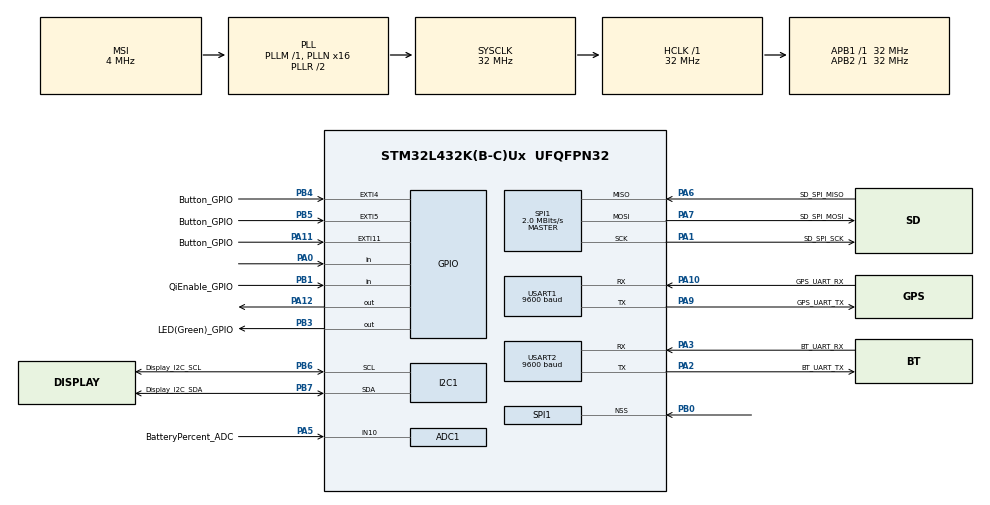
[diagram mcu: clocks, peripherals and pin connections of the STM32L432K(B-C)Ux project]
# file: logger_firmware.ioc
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ADC1.Channel-2\#ChannelRegularConversion=ADC_CHANNEL_10
ADC1.NbrOfConversionFlag=1
ADC1.OffsetNumber-2\#ChannelRegularConversion=ADC_OFFSET_NONE
ADC1.Rank-2\#ChannelRegularConversion=1
ADC1.SamplingTime-2\#ChannelRegularConversion=ADC_SAMPLETIME_2CYCLES_5
ADC1.master=1
FATFS._MAX_SS=4096
FATFS._USE_LFN=1
I2C1.Timing=0x00707CBB
Mcu.Family=STM32L4
Mcu.Name=STM32L432K(B-C)Ux
Mcu.Package=UFQFPN32
NVIC.ADC1_IRQn=true\:0\:0\:false\:false\:true\:true\:true\:true
NVIC.EXTI15_10_IRQn=true\:0\:0\:false\:false\:true\:true\:true\:true
NVIC.EXTI4_IRQn=true\:0\:0\:false\:false\:true\:true\:true\:true
NVIC.EXTI9_5_IRQn=true\:0\:0\:false\:false\:true\:true\:true\:true
NVIC.PriorityGroup=NVIC_PRIORITYGROUP_4
NVIC.TIM1_UP_TIM16_IRQn=true\:0\:0\:false\:false\:true\:true\:true\:true
NVIC.TIM6_DAC_IRQn=true\:0\:0\:false\:false\:true\:true\:true\:true
NVIC.USART1_IRQn=true\:0\:0\:false\:false\:true\:true\:true\:true
PA0.Signal=GPIO_Input
PA1.GPIO_Label=SD_SPI_SCK
PA1.Mode=Full_Duplex_Master
PA1.Signal=SPI1_SCK
PA10.GPIO_Label=GPS_UART_RX
PA10.Mode=Asynchronous
PA10.Signal=USART1_RX
PA11.GPIO_Label=Button_GPIO
PA11.Signal=GPXTI11
PA12.Signal=GPIO_Output
PA13\ (JTMS-SWDIO).GPIO_Label=SWDIO
PA13\ (JTMS-SWDIO).Signal=SYS_JTMS-SWDIO
PA14\ (JTCK-SWCLK).GPIO_Label=SWCLK
PA14\ (JTCK-SWCLK).Signal=SYS_JTCK-SWCLK
PA2.GPIO_Label=BT_UART_TX
PA2.Mode=Asynchronous
PA2.Signal=USART2_TX
PA3.GPIO_Label=BT_UART_RX
PA3.Mode=Asynchronous
PA3.Signal=USART2_RX
PA5.GPIO_Label=BatteryPercent_ADC
PA5.Signal=ADCx_IN10
PA6.GPIO_Label=SD_SPI_MISO
PA6.Mode=Full_Duplex_Master
PA6.Signal=SPI1_MISO
PA7.GPIO_Label=SD_SPI_MOSI
PA7.Mode=Full_Duplex_Master
PA7.Signal=SPI1_MOSI
PA9.GPIO_Label=GPS_UART_TX
PA9.Mode=Asynchronous
PA9.Signal=USART1_TX
PB0.Mode=NSS_Signal_Hard_Input
PB0.Signal=SPI1_NSS
PB1.GPIO_Label=QiEnable_GPIO
PB1.Signal=GPIO_Input
PB3\ (JTDO-TRACESWO).GPIO_Label=LED(Green)_GPIO
PB3\ (JTDO-TRACESWO).Signal=GPIO_Output
PB4\ (NJTRST).GPIO_Label=Button_GPIO
PB4\ (NJTRST).Signal=GPXTI4
PB5.GPIO_Label=Button_GPIO
PB5.Signal=GPXTI5
PB6.GPIO_Label=Display_I2C_SCL
PB6.Mode=I2C
PB6.Signal=I2C1_SCL
PB7.GPIO_Label=Display_I2C_SDA
PB7.Mode=I2C
PB7.Signal=I2C1_SDA
PC14-OSC32_IN\ (PC14).Signal=RCC_OSC32_IN
PC15-OSC32_OUT\ (PC15).Signal=RCC_OSC32_OUT
ProjectManager.HeapSize=0x200
ProjectManager.StackSize=0x400
ProjectManager.TargetToolchain=STM32CubeIDE
RCC.ADCFreq_Value=32000000
RCC.AHBFreq_Value=32000000
RCC.APB1Freq_Value=32000000
RCC.APB1TimFreq_Value=32000000
RCC.APB2Freq_Value=32000000
RCC.APB2TimFreq_Value=32000000
RCC.CortexFreq_Value=32000000
RCC.HCLKFreq_Value=32000000
RCC.HSE_VALUE=8000000
RCC.HSI16_VALUE=16000000
RCC.HSI48_VALUE=48000000
RCC.HSI_VALUE=16000000
RCC.LSE_VALUE=32768
RCC.MSI_VALUE=4000000
RCC.PLLMUL=RCC_PLLMUL_4
RCC.PLLN=16
RCC.PLLSAI1N=16
RCC.SYSCLKFreq_VALUE=32000000
RCC.SYSCLKSource=RCC_SYSCLKSOURCE_PLLCLK
RCC.USBFreq_Value=32000000
RCC.VCOOutputFreq_Value=64000000
SH.ADCx_IN10.0=ADC1_IN10,IN10-Single-Ended
SPI1.BaudRatePrescaler=SPI_BAUDRATEPRESCALER_16
SPI1.CalculateBaudRate=2.0 MBits/s
SPI1.DataSize=SPI_DATASIZE_8BIT
SPI1.Direction=SPI_DIRECTION_2LINES
SPI1.Mode=SPI_MODE_MASTER
SPI1.VirtualNSS=VM_NSSHARD
SPI1.VirtualType=VM_MASTER
TIM16.Period=199
TIM16.Prescaler=79
TIM6.Period=39999
TIM6.Prescaler=799
USART1.BaudRate=9600
USART1.VirtualMode-Asynchronous=VM_ASYNC
USART2.BaudRate=9600
USART2.VirtualMode-Asynchronous=VM_ASYNC
USART2.WordLength=WORDLENGTH_8B
VP_FATFS_VS_Generic.Mode=User_defined
VP_TIM16_VS_ClockSourceINT.Mode=Enable_Timer
VP_TIM6_VS_ClockSourceINT.Mode=Enable_Timer
board=NUCLEO-L432KC

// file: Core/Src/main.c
/* USER CODE BEGIN Header */
/**
  ******************************************************************************
  * @file           : main.c
  * @brief          : Main program body
  ******************************************************************************
  * @attention
  *
  * Copyright (c) 2023 STMicroelectronics.
  * All rights reserved.
  *
  * This software is licensed under terms that can be found in the LICENSE file
  * in the root directory of this software component.
  * If no LICENSE file comes with this software, it is provided AS-IS.
  *
  ******************************************************************************
  */
/* USER CODE END Header */
#include "main.h"
#include "fatfs.h"

/* USER CODE BEGIN Includes */
#include "driver.h"
#include "liquidcrystal_i2c.h"
#include "stdlib.h"
#include "stdio.h"
#include <string.h>
#include "stm32l4xx_hal_uart.h"
#include "math.h"

/* USER CODE END Includes */

ADC_HandleTypeDef hadc1;

I2C_HandleTypeDef hi2c1;

SPI_HandleTypeDef hspi1;

TIM_HandleTypeDef htim6;
TIM_HandleTypeDef htim16;

UART_HandleTypeDef huart1;
UART_HandleTypeDef huart2;

/* USER CODE BEGIN PV */
screenStates state = speed;
screenStates prevState;
IMU_OFFSET offset_cal_data;
volatile uint8_t isLogging = 0;
volatile uint8_t isFixed = 0;
uint8_t bytesReceived;
volatile char bufferByte[1];
// Will store up to ten logs
volatile Log recordedData;
// Booleans for Timer Values
volatile uint8_t buzEnable = 0;
volatile uint8_t IMU_DATA_FLAG = 0;
volatile uint32_t adcOutput;
volatile float batteryPercentage;
volatile float temperature = 10;
volatile float startTime = 0;
volatile float endTime = 0;
float curSlope = 0;
float prevSlope = 0;
volatile char gpsDataBuffer[100]="ASDFADFHDFGASDFASDFSDFHDASDF";//dataBuffer
volatile int gpsParseFlag = 0;

// TODO: New stuff Corbin Added, needs to be checked
volatile runStates runStatus;
runData run_data = {
		0, 0, 0, // start lat, long, alt
		0, 0, 0  //stop lat, long, alt
};
volatile float runStartTimeInSecs;
volatile float stopStartTimeInSecs;
volatile int firstTimeOver;
volatile uint8_t curRun = 0, curData = 0;

volatile gpsData GPSData = {
		  0,
		  "hh",
		  0,
		  "mm",
		  0,
		  "ss.ss",
		  0,
		  "lllll.ll",//latitudeChar[]
		  {0,0},//latitude
		  'A',//latDir
		  "yyyyy.yy",//longitudeChar
		  {0,0},//longitude
		  'A',//longDir
		  0,//fix
		  0,//numSatellites
		  "xxx",//numSatellitesChar
		  0,//hdop
		  "x.x",//hdopChar[]
		  {0,0,0},//altitude
		  "x.x",//altitudeChar[]
		  'M',//altitudeUnits
		  'V',//validity
		  "xxx",//speedCharKnots
		  {0,0,0}, //speedMph
		  "0",//checksumgga
		  0,//dataGoodgga
		  "0",//checksumrmc
		  0//dataGoodrmc
};

volatile uint8_t IMU_Flag = 0;
int16_t buf[4];
float prevXAcc = 0;
float CalcYAcc = 0;
uint8_t maybeCollision;
int counterForIMUCollision = 0;
int collisionCounter = 0;
float prevYAcc = 0;
volatile uint8_t StopLog = 0;
volatile uint8_t GPSNoFix = 1;
volatile uint8_t GPSTimeout = 0;
volatile uint8_t IMUTimeout = 0;
/* USER CODE END PV */

void SystemClock_Config(void);
static void MX_GPIO_Init(void);
static void MX_USART2_UART_Init(void);
static void MX_I2C1_Init(void);
static void MX_USART1_UART_Init(void);
static void MX_TIM16_Init(void);
static void MX_SPI1_Init(void);
static void MX_TIM6_Init(void);
static void MX_ADC1_Init(void);

int main(void)
{

  /* MCU Configuration--------------------------------------------------------*/

  /* Reset of all peripherals, Initializes the Flash interface and the Systick. */
  HAL_Init();

  /* Configure the system clock */
  SystemClock_Config();

  /* Initialize all configured peripherals */
  MX_GPIO_Init();
  MX_USART2_UART_Init();
  MX_I2C1_Init();
  MX_USART1_UART_Init();
  MX_TIM16_Init();
  MX_FATFS_Init();
  MX_SPI1_Init();
  MX_TIM6_Init();
  MX_ADC1_Init();
  /* USER CODE BEGIN 2 */

  // Initialize Timer Interrupt
  HAL_TIM_Base_Start_IT(&htim16);
  HAL_TIM_Base_Start_IT(&htim6);

  // Initialize LCD
  HD44780_Init(2); // Initialize
  HD44780_Clear(); // Clear buffer
  HD44780_Display(); // Display characters
  HD44780_NoBlink(); // Don't blink cursor
  HD44780_NoCursor(); // Don't show cursor

  memset(&recordedData, 0, sizeof(recordedData));

  //enable GGA (contains the precision data) and RMC (contains all the minimum navigation info)
  	//data on the GPS
  	char inputBuffer[] = "$PMTK314,0,0,0,1,0,0,0,0,0,0,0,0,0,0,0,0,0,0,0*29\r\n";
  	HAL_UART_Transmit(&huart1, (uint8_t *) inputBuffer, sizeof(inputBuffer), 100);

  //Change GPS update frequency to every 3000 milliseconds
  char inputBuffer2[] = "$PMTK220,3000*1D\r\n";
  HAL_UART_Transmit(&huart1, (uint8_t *) inputBuffer2, sizeof(inputBuffer2), 100);
  bytesReceived = 0;

  // Will listen for an interrupt on this pin
  HAL_UART_Receive_IT(&huart1, (uint8_t *) bufferByte, 1);
  HAL_ADC_Start_IT(&hadc1);

  IMU_Config(&hi2c1);
  IMU_Calibrate(&hi2c1);
  float CalcDg = IMU_GET_ORIENTATION_FOR_SLOPE(&hi2c1);

  // SD card
  FATFS FatFs;
  FRESULT res;

  res = f_mount(&FatFs, "", 1);    //1=mount now
  if (res != FR_OK) {
	  f_mount(NULL, "", 0);
	  return 0;
  }

  /* USER CODE END 2 */

  /* Infinite loop */
  while (1)
  {

    /* USER CODE BEGIN 3 */
	  if(gpsParseFlag == 1){
		  parseGps(&GPSData, gpsDataBuffer);
		  checkRunStatus(&GPSData, &run_data);
		  determineMax(&GPSData, &recordedData, &run_data);
		  if (runStatus == running) {
			  recordedData.run[curRun].data[curData].GPSspeed = medianThree(GPSData.speedMph);
			  recordedData.run[curRun].data[curData].altitude = medianThree(GPSData.altitude);
			  recordedData.run[curRun].data[curData].longitude = GPSData.longitude[1];
			  recordedData.run[curRun].data[curData].latitude = GPSData.latitude[1];
			  ++curData;
		  }
		  gpsParseFlag = 0;
	  }

	  if(IMU_Flag == 1) {
		  buf[0] = LIA_DATA_X_LSB;
		  HAL_I2C_Master_Transmit(&hi2c1, I2C_Addr, &buf[0], 1, 1000);
		  HAL_I2C_Master_Receive(&hi2c1, I2C_Addr, &buf[0], 4, 1000);
		  int16_t MeaXAcc = buf[0] | (buf[1] << 8);
		  int16_t MeaYAcc = buf[2] | (buf[3] << 8);

		  float CalcXAcc= (float) MeaXAcc / 100.0;  // X
          float CalcYAcc= (float) MeaYAcc / 100.0; 	// Y

          if ((fabs(CalcXAcc) - fabs(prevXAcc) > 40) || (fabs(CalcYAcc) - fabs(CalcYAcc) > 40)) {
			maybeCollision = 1;
			counterForIMUCollision = 0;
			collisionCounter = 0;
          } else if (maybeCollision == 1) {
			if (counterForIMUCollision > 50) {
				if (collisionCounter > 38) {
					// Assume a collision has happened
					HD44780_PrintStr("Collision");
					HD44780_SetCursor(1, 0);
					HD44780_PrintStr("BIG DANGER");
					HAL_Delay(10000);
					state = prevState;
				}
				maybeCollision = 0;
				collisionCounter = 0;
				counterForIMUCollision = 0;
			} else {
				if (CalcXAcc < 1.0 && CalcYAcc < 1.0) {
					collisionCounter++;
				} else {
					collisionCounter--;
				}
				counterForIMUCollision++;
			}
		prevXAcc = CalcXAcc;
		prevYAcc = CalcYAcc;

		curSlope = (IMU_GET_ROLL(&hi2c1) - CalcDg);
		IMU_Determine_Max_Slope(&hi2c1, curSlope, prevSlope, &log);
		prevSlope = curSlope;
		}
		IMU_DATA_FLAG = 0;
	  }

	  HD44780_SetCursor(0, 0);
	switch(state) {
		case speed:
			HD44780_PrintStr("Max Speed (mph):");
			HD44780_SetCursor(1, 0);
			LCD_printFlt(recordedData.maxSpeed);
			break;
		case alt:
			HD44780_PrintStr("Max Alt. (m):   ");
			HD44780_SetCursor(1, 0);
			LCD_printFlt(recordedData.maxAltitude);
			break;
		case longest:
			HD44780_PrintStr("Longest Run (m):");
			HD44780_SetCursor(1, 0);
			LCD_printFlt(recordedData.longestRun);
			break;
		case tallest:
			HD44780_PrintStr("Tallest Run (m):");
			HD44780_SetCursor(1, 0);
			LCD_printFlt(recordedData.tallestRun);
			break;
		case steepest:
			HD44780_PrintStr("Steepest (deg): ");
			HD44780_SetCursor(1, 0);
			LCD_printFlt(recordedData.steepestRun);
			break;
		case startLog:
			HD44780_PrintStr("Starting log    ");
			HD44780_SetCursor(1, 0);
			HD44780_PrintStr("                ");
			break;
		case stopLog:
			HD44780_PrintStr("Stopping log    ");
			HD44780_SetCursor(1, 0);
			HD44780_PrintStr("                ");
			StopLog = 1;
			break;
		case pauseLog:
			HD44780_PrintStr("Log paused      ");
			HD44780_SetCursor(1, 0);
			HD44780_PrintStr("                ");
			stopGPS(&huart1);
			IMU_POWER_OFF(&hi2c1);
			break;
		case resumeLog:
			HD44780_PrintStr("Resuming log... ");
			HD44780_SetCursor(1, 0);
			HD44780_PrintStr("                ");
			startGPS(&huart1);
			IMU_POWER_ON(&hi2c1);
			state = prevState;
			break;
		case save: ;
			uint8_t s = 1;
			if (GPSNoFix == 0) {
				HD44780_PrintStr("Log Saved       ");
				HD44780_SetCursor(1, 0);
				HD44780_PrintStr("                ");
				// Save data to SD card
				s = SD_write(&recordedData);
			} else {
				HD44780_PrintStr("No satellite fix");
				HD44780_SetCursor(1, 0);
				HD44780_PrintStr("                ");
				GPSNoFix = 1;
			}
			// If SD card ops successful, go to prevState
			state = s ? prevState : error;
			//if (s) readSDsendBT(&huart2);
			break;
		case battery:
			// Get battery percentage and temperature
			HAL_ADC_Start_IT(&hadc1);
			HAL_Delay(50);
			temperature = IMU_GET_TEMP(&hi2c1);
			batteryPercentage = getBatteryPercentage(temperature, adcOutput);
			// Print battery percentage
			HD44780_PrintStr("Battery %: ");
			LCD_printFltDecLim(batteryPercentage);
			HD44780_PrintStr("     ");
			HD44780_SetCursor(0, 14);
			HD44780_PrintStr("%");
			// Print temperature
			HD44780_SetCursor(1, 0);
			HD44780_PrintStr("Temp. (C): ");
			LCD_printFltDecLim(temperature);
			HD44780_PrintStr("     ");
			HD44780_SetCursor(1, 14);
			HD44780_PrintStr("C");
			break;
		default:
			HD44780_PrintStr("Error           ");
			HD44780_SetCursor(1, 0);
			HD44780_PrintStr("IMU Not Calibrated");
			HAL_Delay(5000);
			state = prevState;
			break;
	}

  }
  /* USER CODE END 3 */
}

void SystemClock_Config(void)
{
  RCC_OscInitTypeDef RCC_OscInitStruct = {0};
  RCC_ClkInitTypeDef RCC_ClkInitStruct = {0};

  /** Configure the main internal regulator output voltage
  */
  if (HAL_PWREx_ControlVoltageScaling(PWR_REGULATOR_VOLTAGE_SCALE1) != HAL_OK)
  {
    Error_Handler();
  }

  /** Initializes the RCC Oscillators according to the specified parameters
  * in the RCC_OscInitTypeDef structure.
  */
  RCC_OscInitStruct.OscillatorType = RCC_OSCILLATORTYPE_MSI;
  RCC_OscInitStruct.MSIState = RCC_MSI_ON;
  RCC_OscInitStruct.MSICalibrationValue = 0;
  RCC_OscInitStruct.MSIClockRange = RCC_MSIRANGE_6;
  RCC_OscInitStruct.PLL.PLLState = RCC_PLL_ON;
  RCC_OscInitStruct.PLL.PLLSource = RCC_PLLSOURCE_MSI;
  RCC_OscInitStruct.PLL.PLLM = 1;
  RCC_OscInitStruct.PLL.PLLN = 16;
  RCC_OscInitStruct.PLL.PLLP = RCC_PLLP_DIV7;
  RCC_OscInitStruct.PLL.PLLQ = RCC_PLLQ_DIV2;
  RCC_OscInitStruct.PLL.PLLR = RCC_PLLR_DIV2;
  if (HAL_RCC_OscConfig(&RCC_OscInitStruct) != HAL_OK)
  {
    Error_Handler();
  }

  /** Initializes the CPU, AHB and APB buses clocks
  */
  RCC_ClkInitStruct.ClockType = RCC_CLOCKTYPE_HCLK|RCC_CLOCKTYPE_SYSCLK
                              |RCC_CLOCKTYPE_PCLK1|RCC_CLOCKTYPE_PCLK2;
  RCC_ClkInitStruct.SYSCLKSource = RCC_SYSCLKSOURCE_PLLCLK;
  RCC_ClkInitStruct.AHBCLKDivider = RCC_SYSCLK_DIV1;
  RCC_ClkInitStruct.APB1CLKDivider = RCC_HCLK_DIV1;
  RCC_ClkInitStruct.APB2CLKDivider = RCC_HCLK_DIV1;

  if (HAL_RCC_ClockConfig(&RCC_ClkInitStruct, FLASH_LATENCY_1) != HAL_OK)
  {
    Error_Handler();
  }
}

static void MX_ADC1_Init(void)
{

  ADC_ChannelConfTypeDef sConfig = {0};

  /** Common config
  */
  hadc1.Instance = ADC1;
  hadc1.Init.ClockPrescaler = ADC_CLOCK_ASYNC_DIV1;
  hadc1.Init.Resolution = ADC_RESOLUTION_12B;
  hadc1.Init.DataAlign = ADC_DATAALIGN_RIGHT;
  hadc1.Init.ScanConvMode = ADC_SCAN_DISABLE;
  hadc1.Init.EOCSelection = ADC_EOC_SINGLE_CONV;
  hadc1.Init.LowPowerAutoWait = DISABLE;
  hadc1.Init.ContinuousConvMode = DISABLE;
  hadc1.Init.NbrOfConversion = 1;
  hadc1.Init.DiscontinuousConvMode = DISABLE;
  hadc1.Init.ExternalTrigConv = ADC_SOFTWARE_START;
  hadc1.Init.ExternalTrigConvEdge = ADC_EXTERNALTRIGCONVEDGE_NONE;
  hadc1.Init.DMAContinuousRequests = DISABLE;
  hadc1.Init.Overrun = ADC_OVR_DATA_PRESERVED;
  hadc1.Init.OversamplingMode = DISABLE;
  if (HAL_ADC_Init(&hadc1) != HAL_OK)
  {
    Error_Handler();
  }

  /** Configure Regular Channel
  */
  sConfig.Channel = ADC_CHANNEL_10;
  sConfig.Rank = ADC_REGULAR_RANK_1;
  sConfig.SamplingTime = ADC_SAMPLETIME_2CYCLES_5;
  sConfig.SingleDiff = ADC_SINGLE_ENDED;
  sConfig.OffsetNumber = ADC_OFFSET_NONE;
  sConfig.Offset = 0;
  if (HAL_ADC_ConfigChannel(&hadc1, &sConfig) != HAL_OK)
  {
    Error_Handler();
  }

}

static void MX_I2C1_Init(void)
{

  hi2c1.Instance = I2C1;
  hi2c1.Init.Timing = 0x00707CBB;
  hi2c1.Init.OwnAddress1 = 0;
  hi2c1.Init.AddressingMode = I2C_ADDRESSINGMODE_7BIT;
  hi2c1.Init.DualAddressMode = I2C_DUALADDRESS_DISABLE;
  hi2c1.Init.OwnAddress2 = 0;
  hi2c1.Init.OwnAddress2Masks = I2C_OA2_NOMASK;
  hi2c1.Init.GeneralCallMode = I2C_GENERALCALL_DISABLE;
  hi2c1.Init.NoStretchMode = I2C_NOSTRETCH_DISABLE;
  if (HAL_I2C_Init(&hi2c1) != HAL_OK)
  {
    Error_Handler();
  }

  /** Configure Analogue filter
  */
  if (HAL_I2CEx_ConfigAnalogFilter(&hi2c1, I2C_ANALOGFILTER_ENABLE) != HAL_OK)
  {
    Error_Handler();
  }

  /** Configure Digital filter
  */
  if (HAL_I2CEx_ConfigDigitalFilter(&hi2c1, 0) != HAL_OK)
  {
    Error_Handler();
  }

}

static void MX_SPI1_Init(void)
{

  /* SPI1 parameter configuration*/
  hspi1.Instance = SPI1;
  hspi1.Init.Mode = SPI_MODE_MASTER;
  hspi1.Init.Direction = SPI_DIRECTION_2LINES;
  hspi1.Init.DataSize = SPI_DATASIZE_8BIT;
  hspi1.Init.CLKPolarity = SPI_POLARITY_LOW;
  hspi1.Init.CLKPhase = SPI_PHASE_1EDGE;
  hspi1.Init.NSS = SPI_NSS_HARD_INPUT;
  hspi1.Init.BaudRatePrescaler = SPI_BAUDRATEPRESCALER_16;
  hspi1.Init.FirstBit = SPI_FIRSTBIT_MSB;
  hspi1.Init.TIMode = SPI_TIMODE_DISABLE;
  hspi1.Init.CRCCalculation = SPI_CRCCALCULATION_DISABLE;
  hspi1.Init.CRCPolynomial = 7;
  hspi1.Init.CRCLength = SPI_CRC_LENGTH_DATASIZE;
  hspi1.Init.NSSPMode = SPI_NSS_PULSE_ENABLE;
  if (HAL_SPI_Init(&hspi1) != HAL_OK)
  {
    Error_Handler();
  }

}

static void MX_TIM6_Init(void)
{

  TIM_MasterConfigTypeDef sMasterConfig = {0};

  htim6.Instance = TIM6;
  htim6.Init.Prescaler = 799;
  htim6.Init.CounterMode = TIM_COUNTERMODE_UP;
  htim6.Init.Period = 39999;
  htim6.Init.AutoReloadPreload = TIM_AUTORELOAD_PRELOAD_DISABLE;
  if (HAL_TIM_Base_Init(&htim6) != HAL_OK)
  {
    Error_Handler();
  }
  sMasterConfig.MasterOutputTrigger = TIM_TRGO_RESET;
  sMasterConfig.MasterSlaveMode = TIM_MASTERSLAVEMODE_DISABLE;
  if (HAL_TIMEx_MasterConfigSynchronization(&htim6, &sMasterConfig) != HAL_OK)
  {
    Error_Handler();
  }

}

static void MX_TIM16_Init(void)
{

  htim16.Instance = TIM16;
  htim16.Init.Prescaler = 79;
  htim16.Init.CounterMode = TIM_COUNTERMODE_UP;
  htim16.Init.Period = 199;
  htim16.Init.ClockDivision = TIM_CLOCKDIVISION_DIV1;
  htim16.Init.RepetitionCounter = 0;
  htim16.Init.AutoReloadPreload = TIM_AUTORELOAD_PRELOAD_DISABLE;
  if (HAL_TIM_Base_Init(&htim16) != HAL_OK)
  {
    Error_Handler();
  }

}

static void MX_USART1_UART_Init(void)
{

  huart1.Instance = USART1;
  huart1.Init.BaudRate = 9600;
  huart1.Init.WordLength = UART_WORDLENGTH_8B;
  huart1.Init.StopBits = UART_STOPBITS_1;
  huart1.Init.Parity = UART_PARITY_NONE;
  huart1.Init.Mode = UART_MODE_TX_RX;
  huart1.Init.HwFlowCtl = UART_HWCONTROL_NONE;
  huart1.Init.OverSampling = UART_OVERSAMPLING_16;
  huart1.Init.OneBitSampling = UART_ONE_BIT_SAMPLE_DISABLE;
  huart1.AdvancedInit.AdvFeatureInit = UART_ADVFEATURE_NO_INIT;
  if (HAL_UART_Init(&huart1) != HAL_OK)
  {
    Error_Handler();
  }

}

static void MX_USART2_UART_Init(void)
{

  huart2.Instance = USART2;
  huart2.Init.BaudRate = 9600;
  huart2.Init.WordLength = UART_WORDLENGTH_8B;
  huart2.Init.StopBits = UART_STOPBITS_1;
  huart2.Init.Parity = UART_PARITY_NONE;
  huart2.Init.Mode = UART_MODE_TX_RX;
  huart2.Init.HwFlowCtl = UART_HWCONTROL_NONE;
  huart2.Init.OverSampling = UART_OVERSAMPLING_16;
  huart2.Init.OneBitSampling = UART_ONE_BIT_SAMPLE_DISABLE;
  huart2.AdvancedInit.AdvFeatureInit = UART_ADVFEATURE_NO_INIT;
  if (HAL_UART_Init(&huart2) != HAL_OK)
  {
    Error_Handler();
  }

}

static void MX_GPIO_Init(void)
{
  GPIO_InitTypeDef GPIO_InitStruct = {0};

  /* GPIO Ports Clock Enable */
  __HAL_RCC_GPIOC_CLK_ENABLE();
  __HAL_RCC_GPIOA_CLK_ENABLE();
  __HAL_RCC_GPIOB_CLK_ENABLE();

  /*Configure GPIO pin Output Level */
  HAL_GPIO_WritePin(GPIOA, GPIO_PIN_12, GPIO_PIN_RESET);

  /*Configure GPIO pin Output Level */
  HAL_GPIO_WritePin(LED_GPIO_GPIO_Port, LED_GPIO_Pin, GPIO_PIN_RESET);

  /*Configure GPIO pin : PA0 */
  GPIO_InitStruct.Pin = GPIO_PIN_0;
  GPIO_InitStruct.Mode = GPIO_MODE_INPUT;
  GPIO_InitStruct.Pull = GPIO_NOPULL;
  HAL_GPIO_Init(GPIOA, &GPIO_InitStruct);

  /*Configure GPIO pin : QiEnable_GPIO_Pin */
  GPIO_InitStruct.Pin = QiEnable_GPIO_Pin;
  GPIO_InitStruct.Mode = GPIO_MODE_INPUT;
  GPIO_InitStruct.Pull = GPIO_NOPULL;
  HAL_GPIO_Init(QiEnable_GPIO_GPIO_Port, &GPIO_InitStruct);

  /*Configure GPIO pin : Button_GPIO_Pin */
  GPIO_InitStruct.Pin = Button_GPIO_Pin;
  GPIO_InitStruct.Mode = GPIO_MODE_IT_RISING;
  GPIO_InitStruct.Pull = GPIO_NOPULL;
  HAL_GPIO_Init(Button_GPIO_GPIO_Port, &GPIO_InitStruct);

  /*Configure GPIO pin : PA12 */
  GPIO_InitStruct.Pin = GPIO_PIN_12;
  GPIO_InitStruct.Mode = GPIO_MODE_OUTPUT_PP;
  GPIO_InitStruct.Pull = GPIO_NOPULL;
  GPIO_InitStruct.Speed = GPIO_SPEED_FREQ_LOW;
  HAL_GPIO_Init(GPIOA, &GPIO_InitStruct);

  /*Configure GPIO pin : LED_GPIO_Pin */
  GPIO_InitStruct.Pin = LED_GPIO_Pin;
  GPIO_InitStruct.Mode = GPIO_MODE_OUTPUT_PP;
  GPIO_InitStruct.Pull = GPIO_NOPULL;
  GPIO_InitStruct.Speed = GPIO_SPEED_FREQ_LOW;
  HAL_GPIO_Init(LED_GPIO_GPIO_Port, &GPIO_InitStruct);

  /*Configure GPIO pins : Button_GPIOB4_Pin Button_GPIOB5_Pin */
  GPIO_InitStruct.Pin = Button_GPIOB4_Pin|Button_GPIOB5_Pin;
  GPIO_InitStruct.Mode = GPIO_MODE_IT_RISING;
  GPIO_InitStruct.Pull = GPIO_NOPULL;
  HAL_GPIO_Init(GPIOB, &GPIO_InitStruct);

  /* EXTI interrupt init*/
  HAL_NVIC_SetPriority(EXTI4_IRQn, 0, 0);
  HAL_NVIC_EnableIRQ(EXTI4_IRQn);

  HAL_NVIC_SetPriority(EXTI9_5_IRQn, 0, 0);
  HAL_NVIC_EnableIRQ(EXTI9_5_IRQn);

  HAL_NVIC_SetPriority(EXTI15_10_IRQn, 0, 0);
  HAL_NVIC_EnableIRQ(EXTI15_10_IRQn);

}

/* USER CODE BEGIN 4 */
	//Enable printf
	#ifdef __GNUC__
	#define PUTCHAR_PROTOTYPE int __io_putchar(int ch)
	#else
	  #define PUTCHAR_PROTOTYPE int fputc(int ch, FILE *f)
	#endif /* __GNUC__ */
	PUTCHAR_PROTOTYPE
	{
	  HAL_UART_Transmit(&huart1, (uint8_t *)&ch, 1, 0xFFFF);
	  return ch;
	}
/* USER CODE END 4 */

void Error_Handler(void)
{
  __disable_irq();
  while (1)
  {
  }
}
